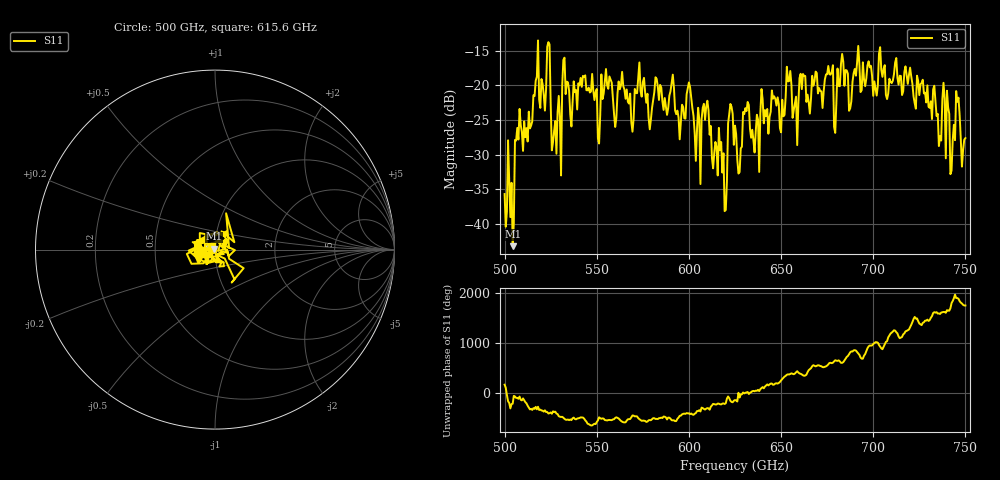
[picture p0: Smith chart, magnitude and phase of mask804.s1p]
!Created with skrf (http://scikit-rf.org).
# GHz S MA R 50.0
!freq magS11 angS11
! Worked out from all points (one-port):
!   401 points, 500 GHz to 750 GHz, reference 50 ohm
!   lowest |S11| = -43.3 dB at 504.4 GHz (marker M1), VSWR 1.01, Z = 49.5 + j0.49 ohm
!   |S11| at or under -10 dB: start of sweep to end of sweep
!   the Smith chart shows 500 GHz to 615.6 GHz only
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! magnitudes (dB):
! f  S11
! 500 GHz  -35.7
! 504.4 GHz  -43.3
! 506.9 GHz  -26.1
! 513.8 GHz  -26.2
! 516.9 GHz  -19.3
! 523.8 GHz  -13.7
! 526.9 GHz  -26.6
! 531.2 GHz  -20.0
! 562.5 GHz  -20.6
! 568.8 GHz  -25.3
! 590.6 GHz  -19.7
! 593.8 GHz  -23.6
! 600 GHz  -19.6
! 605 GHz  -23.2
! 609.4 GHz  -23.1
! 619.4 GHz  -38.2
! 622.5 GHz  -22.7
! 625 GHz  -25.8
! 627.5 GHz  -32.5
! 631.2 GHz  -23.7
! 656.2 GHz  -24.7
! 676.9 GHz  -18.4
! 680 GHz  -22.5
! 683.8 GHz  -16.6
! 687.5 GHz  -23.3
! 691.2 GHz  -16.6
! 718.8 GHz  -19.8
! 750 GHz  -27.6
